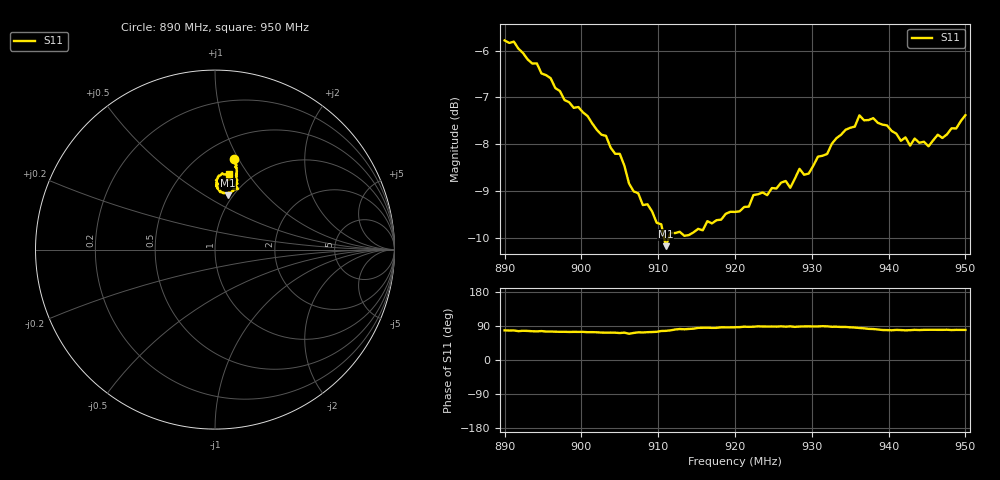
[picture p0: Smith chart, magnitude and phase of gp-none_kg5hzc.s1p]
# HZ S RI R 50
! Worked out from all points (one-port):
!   101 points, 890 MHz to 950 MHz, reference 50 ohm
!   lowest |S11| = -10.2 dB at 911 MHz (marker M1), VSWR 1.90, Z = 47.3 + j31.6 ohm
!   |S11| at or under -10 dB: 910.7636 MHz to 911.3867 MHz (623.1 kHz wide, 0.0684 % of centre)
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8.9e8  0.1045 0.5032
8.912e8  0.107 0.5011
8.918e8  0.1209 0.4889
8.924e8  0.1106 0.4858
8.978e8  0.1193 0.4275
9.05e8  0.1257 0.3678
9.056e8  0.1152 0.3594
9.062e8  0.1283 0.3377
9.074e8  0.103 0.3373
9.104e8  0.0758 0.3178
9.11e8  0.0703 0.3015
9.116e8  0.0655 0.3132
9.128e8  0.046 0.3175
9.134e8  0.0494 0.3138
9.152e8  0.0296 0.3218
9.2e8  0.0208 0.3362
9.23e8  0.0074 0.3518
9.266e8  0.0128 0.3633
9.272e8  0.00723 0.3575
9.278e8  0.0167 0.3653
9.314e8  0.00511 0.3868
9.35e8  0.0271 0.4136
9.362e8  0.0408 0.4254
9.392e8  0.079 0.4102
9.428e8  0.0779 0.3889
9.434e8  0.0733 0.3969
9.452e8  0.0712 0.3895
9.5e8  0.0787 0.4202
